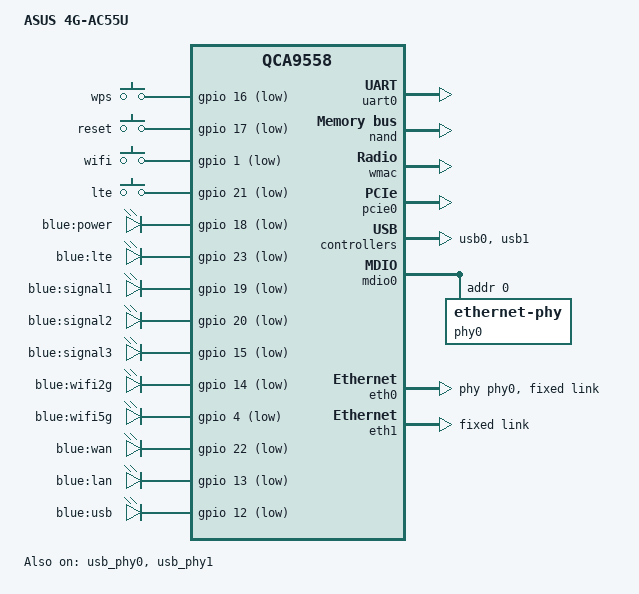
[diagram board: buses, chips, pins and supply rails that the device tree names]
// SPDX-License-Identifier: GPL-2.0-or-later OR MIT
/*
* ASUS 4G-AC55U
*
* SoC:    Qualcomm Atheros QCA9558 (MIPS 74Kc @ 720MHz), NAND boot
* Switch: Atheros/Qualcomm AR8327(N) - 4x LAN + 1x WAN, built-in 2.4GHz radio
* 5GHz:   QCA988x-family chip on PCIe0 (ath10k "offload" firmware in stock dmesg)
* Modem:  internal Qualcomm-based LTE modem on its own USB bus (05c6:9026, ttyACM)
*
* This file was reconstructed from a stock-firmware dmesg capture, an nvram
* dump, a decoded GPIO table, a live "cat /proc/mtd", a real U-Boot serial
* log, raw dd dumps of mtd0/mtd2/mtd3/mtd4/mtd10, and on-hardware bring-up
* of the ethernet/switch block -- not from a datasheet. NAND partition
* boundaries, the wmac calibration, both MAC addresses, and the AR8327
* switch binding (legacy single-PHY/swconfig, not DSA) are all CONFIRMED
* against that hardware. Everything still under a "NEEDS VERIFICATION"
* comment (LAN/WAN port-to-jack mapping, the switch/WAN/LAN/USB LED wiring,
* the usb0/usb1 label names) remains an open, best-effort guess.
*/

/dts-v1/;

#include "qca955x.dtsi"

#include <dt-bindings/gpio/gpio.h>
#include <dt-bindings/input/input.h>

/ {
	compatible = "asus,4g-ac55u", "qca,qca9558";
	model = "ASUS 4G-AC55U";
	
	aliases {
		led-boot = &led_power;
		led-failsafe = &led_power;
		led-running = &led_power;
		led-upgrade = &led_power;
		/* NEEDS VERIFICATION: confirm eth0 vs eth1 is the "primary" MAC */
		label-mac-device = &eth0;
	};
	
	chosen {
		bootargs = "console=ttyS0,115200";
	};
	
	/*
	* Button GPIOs decoded from gpio_mappings.txt: stock nvram encodes
	* SoC GPIOs as (4096 + pin), active-low.
	*   btn_wps_gpio   = 4112 -> gpio 16
	*   btn_rst_gpio   = 4113 -> gpio 17
	*   btn_wifi_gpio  = 4097 -> gpio 1
	*   btn_lte_gpio   = 4117 -> gpio 21
	*/
	keys {
		compatible = "gpio-keys";
		
		button-wps {
			label = "wps";
			linux,code = <KEY_WPS_BUTTON>;
			gpios = <&gpio 16 GPIO_ACTIVE_LOW>;
			debounce-interval = <60>;
		};
		
		button-reset {
			label = "reset";
			linux,code = <KEY_RESTART>;
			gpios = <&gpio 17 GPIO_ACTIVE_LOW>;
			debounce-interval = <60>;
		};
		
		button-wifi {
			label = "wifi";
			linux,code = <KEY_RFKILL>;
			gpios = <&gpio 1 GPIO_ACTIVE_LOW>;
			debounce-interval = <60>;
		};
		
		button-lte {
			label = "lte";
			linux,code = <BTN_0>;
			gpios = <&gpio 21 GPIO_ACTIVE_LOW>;
			debounce-interval = <60>;
		};
	};
	
	/*
	* LED GPIOs, same (4096 + pin) decoding as above:
	*   led_pwr_gpio  = 4114 -> gpio 18 (shared with WPS status in stock fw)
	*   led_lte_gpio  = 4119 -> gpio 23
	*   led_sig1_gpio = 4115 -> gpio 19
	*   led_sig2_gpio = 4116 -> gpio 20
	*   led_sig3_gpio = 4111 -> gpio 15
	*
	* The 2.4G/5G/WAN/LAN/USB indicators are driven differently -- see
	* the "NEEDS VERIFICATION" block further down.
	*/
	leds {
		compatible = "gpio-leds";
		
		led_power: power {
			label = "blue:power";
			gpios = <&gpio 18 GPIO_ACTIVE_LOW>;
			default-state = "on";
		};
		
		led-lte {
			label = "blue:lte";
			gpios = <&gpio 23 GPIO_ACTIVE_LOW>;
		};
		
		led-signal1 {
			label = "blue:signal1";
			gpios = <&gpio 19 GPIO_ACTIVE_LOW>;
		};
		
		led-signal2 {
			label = "blue:signal2";
			gpios = <&gpio 20 GPIO_ACTIVE_LOW>;
		};
		
		led-signal3 {
			label = "blue:signal3";
			gpios = <&gpio 15 GPIO_ACTIVE_LOW>;
		};
		
		/*
		* dmesg from stock firmware shows the "bled" (blink-LED)
		* helper wired directly to plain SoC GPIOs for radio/WAN/USB
		* activity, independent of the nvram led_*_gpio table:
		*   bled: GPIO#14: netdev ath0.            (2.4GHz activity)
		*   bled: GPIO#4:  netdev ath1.             (5GHz activity)
		*   bled: GPIO#22: netdev eth0.             (WAN activity)
		*   bled: GPIO#13: switch ports mask 0.     (LAN activity)
		*   bled: GPIO#12: USB BUS mask 3.          (USB activity)
		* These are used below with netdev/usbport triggers rather
		* than being left as static on/off LEDs.
		*/
		led-wifi2g {
			label = "blue:wifi2g";
			gpios = <&gpio 14 GPIO_ACTIVE_LOW>;
			linux,default-trigger = "phy1tpt";
		};
		
		led-wifi5g {
			label = "blue:wifi5g";
			gpios = <&gpio 4 GPIO_ACTIVE_LOW>;
			linux,default-trigger = "phy0tpt";
		};
		
		led-wan {
			label = "blue:wan";
			gpios = <&gpio 22 GPIO_ACTIVE_LOW>;
			linux,default-trigger = "netdev";
			/* NEEDS VERIFICATION: confirm eth0 really is WAN, see notes */
		};
		
		led-lan {
			label = "blue:lan";
			gpios = <&gpio 13 GPIO_ACTIVE_LOW>;
			linux,default-trigger = "netdev";
			/* NEEDS VERIFICATION: confirm eth1 really is LAN, see notes */
		};
		
		led-usb {
			label = "blue:usb";
			gpios = <&gpio 12 GPIO_ACTIVE_LOW>;
			trigger-sources = <&hub_port0>;
			linux,default-trigger = "usbport";
		};
	};
	
	/*
	* NEEDS VERIFICATION: the nvram led_2g_gpio/led_5g_gpio/led_wan_gpio/
	* led_lan_gpio/led_usb_gpio entries all decode to values >= 12288,
	* which is outside the SoC's 24-line GPIO block entirely. That range
	* is how stock firmware addresses the AR8327's own per-port LED
	* controller, not a SoC GPIO. If the GPIO-based LEDs above don't
	* match what the case silkscreens actually show, the real LEDs are
	* likely switch-driven and belong as "qca,ar8327-leds" child nodes
	* under the switch's PHY node (see &mdio0 below) instead -- that
	* requires confirming the port/channel mapping on the bench first,
	* so it's intentionally left out rather than guessed.
	*/
};

&uart0 {
	status = "okay";
};

/*
* This board boots from NAND, not SPI-NOR (dmesg: "ath79-nand" /
* "AR71xx/AR9xxx Qualcomm-Atheros NAND FLash Controller driver", NAND ID
* 0x92 0xf1, 128MiB, page 2048B / block 128KiB / oob 64B). The onboard SPI-NOR
* (if present at all on this SKU) is not used for boot and is left disabled.
*
* Flash layout reconstructed from dmesg partition table:
*   0x0000000-0x00E0000  "Bootloader"   (MTD_BOOT_PART_SIZE   = 0xe0000)
*   0x00E0000-0x0100000  ASUS config    (MTD_CONFIG_PART_SIZE = 0x20000)
*   0x0100000-0x7F00000  "UBI_DEV"      (126 MiB, UBI: kernel + rootfs volumes)
*   0x7F00000-0x8000000  "caldata"      (1 MiB, last block of NAND)
*/
&nand {
	status = "okay";
	
	partitions {
		compatible = "fixed-partitions";
		#address-cells = <1>;
		#size-cells = <1>;
		
		partition@0 {
			label = "u-boot";
			reg = <0x0000000 0x00e0000>;
			read-only;
		};
		
		partition@e0000 {
			label = "config";
			reg = <0x00e0000 0x0020000>;
			read-only;
		};
		
		partition@100000 {
			label = "ubi";
			reg = <0x0100000 0x7e00000>;
		};
		
		art: partition@7f00000 {
			label = "art";
			reg = <0x7f00000 0x0100000>;
			read-only;
			
			compatible = "nvmem-cells";
			#address-cells = <1>;
			#size-cells = <1>;
			
			/*
			* CONFIRMED against a raw dump of this exact partition
			* (mtd10 "caldata", byte-identical to the UBI "Factory"
			* volume's still-intact copy). Real, structured,
			* calibration-shaped data (repeating per-rate/per-chain
			* power tables) starts exactly at 0x1000 and runs to
			* ~0x1440, matching the common ath79/QCA955x wmac
			* convention this offset/size were originally guessed
			* from -- no longer a guess.
			*/
			cal_art_1000: calibration@1000 {
				reg = <0x1000 0x844>;
			};
			
			/* CONFIRMED: matches et0macaddr from the stock nvram
			* dump byte-for-byte (ac:9e:17:58:99:20). */
			macaddr_art_1002: macaddr@1002 {
				reg = <0x1002 0x6>;
			};
			
			/*
			* CONFIRMED: matches et1macaddr/wl1_hwaddr from nvram
			* (ac:9e:17:58:99:24). Sits at the head of a second
			* calibration-shaped bundle (0x5000-0x5800) that's
			* almost certainly the 5GHz/QCA988x pre-cal data --
			* see the ath10k note under &pcie0 for why that one
			* isn't just wired up as an nvmem-cell here.
			*/
			macaddr_art_5006: macaddr@5006 {
				reg = <0x5006 0x6>;
			};
		};
	};
};

&wmac {
	status = "okay";
	
	nvmem-cells = <&cal_art_1000>;
	nvmem-cell-names = "calibration";
};

/*
* 5GHz radio: QCA988x-family chip on PCIe0 (stock dmesg shows a single
* PCI device at 0000:00:00.0, class 0x0280 network controller; PCIe1
* reported "link is down" so it's left disabled).
*
* CONFIRMED NOT WORKING as of this writing, and the reason is understood:
* this is first-generation "qca988x hw2.0" silicon on old firmware
* (10.2.4-1.0-00047). Board data loads fine (board_file api 1 ...
* crc32 bebc7c08), but OTP calibration fails ("otp calibration failed: 2").
* Feeding it the confirmed pre-cal bundle at art+0x5000 (see
* macaddr_art_5006 above, and the 11-ath10k-caldata hotplug script) gets
* further -- the driver visibly switches into the pre-cal code path --
* but then fails at "failed to get board id: -122". That mechanism was
* added to ath10k for QCA99X0/QCA9888/QCA9984, a later hardware
* generation than this chip; it may simply not be implemented by this
* chip/firmware combination. ath10k-ct's own skip_otp module parameter
* (a documented escape hatch for exactly this, at the cost of running
* uncalibrated) is not exposed in this particular kmod-ath10k-ct build.
* Left enabled below since board data + calibration hotplug are
* legitimate groundwork regardless -- known, understood limitation, not
* a bug to keep chasing without a different firmware build to test.
*/
&pcie0 {
	status = "okay";
};

&pcie1 {
	status = "disabled";
};

/*
* Two independent USB buses match both usb_devices.txt (two root hubs)
* and nvram's "ehci_ports=1-1 2-1": bus 1 is the external USB2.0 port,
* bus 2 goes internally to the soldered-down LTE modem (Qualcomm-based,
* 05c6:9026, exposes ttyACM/QMI -- see usb_path2_* in nvram).
* CONFIRMED against the real qca955x.dtsi: usb0/usb1 and the hub_port0/
* hub_port1 child node names below are correct as-is. Each host
* controller also depends on its own PHY node (usb_phy0/usb_phy1),
* which defaults to status = "disabled" in the SoC dtsi and must be
* enabled separately below -- without this, both controllers sit in
* "deferred probe pending" forever and nothing on either bus enumerates.
*/
&usb_phy0 {
	status = "okay";
};

&usb_phy1 {
	status = "okay";
};

&usb0 {
	status = "okay";
	
	hub_port0: port@1 {
		reg = <1>;
		#trigger-source-cells = <0>;
	};
};

&usb1 {
	status = "okay";
	/* internal, non-removable: the LTE modem lives here */
	
	hub_port1: port@1 {
		reg = <1>;
		#trigger-source-cells = <0>;
	};
};

&mdio0 {
	status = "okay";
	
	/*
	* CONFIRMED working on real hardware. This board's AR8327 needs the
	* legacy single-PHY/swconfig binding, not a DSA ports list -- matches
	* "switch0: Atheros AR8337 rev. 2 switch registered on mdio.0" in the
	* OpenWrt bootlog (that's the legacy driver's own log line). These
	* initvals, and the pll-data on &eth0/&eth1 below, came from a
	* community port of the very similar (non-LTE) ASUS RT-AC55U:
	* https://forum.openwrt.org/t/qca955x-dts-ethernet-phys-porting-openwrt-to-asus-rt-ac55u/104791
	*/
	phy0: ethernet-phy@0 {
		reg = <0>;
		phy-mode = "rgmii-id";
		
		qca,ar8327-initvals = <
		0x04 0x87600000
		0x0c 0x00080080
		0x10 0x81000080
		0x50 0xffb7ffb7
		0x54 0xffb7ffb7
		0x58 0xffb7ffb7
		0x5c 0x03ffff00
		0x7c 0x0000007e
		0x94 0x0000007e
		>;
	};
};

&eth0 {
	status = "okay";
	
	pll-data = <0xa6000000 0x00000101 0x00001616>;
	phy-handle = <&phy0>;
	
	nvmem-cells = <&macaddr_art_1002>;
	nvmem-cell-names = "mac-address";
	
	fixed-link {
		speed = <1000>;
		full-duplex;
	};
};

&eth1 {
	status = "okay";
	
	/*
	* nvram: lan_ifnames="eth1 ath0 ath1" -- eth1 is bridged with both
	* radios as the LAN-side MAC, reaching the switch's 2nd (SGMII) CPU
	* port rather than the RGMII port used for WAN on eth0.
	*/
	pll-data = <0x03000101 0x00000101 0x00001616>;
	
	nvmem-cells = <&macaddr_art_5006>;
	nvmem-cell-names = "mac-address";
	
	fixed-link {
		speed = <1000>;
		full-duplex;
	};
};

/*
* With the legacy swconfig binding above, per-port LAN/WAN VLAN separation
* is NOT described anywhere in the DTS -- it's entirely a board.d/02_network
* "ucidef_add_switch" job in userspace (dual CPU ports: 0@eth0=WAN,
* 6@eth1=LAN aggregate). CONFIRMED on the bench: switch port 2 = the
* case's "LAN1" jack (a test PC's own MAC address showed up on port 2 in
* `swconfig dev switch0 show`'s ARL table). NEEDS VERIFICATION: ports
* 1/3/4/5 (WAN, LAN2, LAN3, LAN4) are still unconfirmed placeholders --
* same method, one jack at a time.
*/
